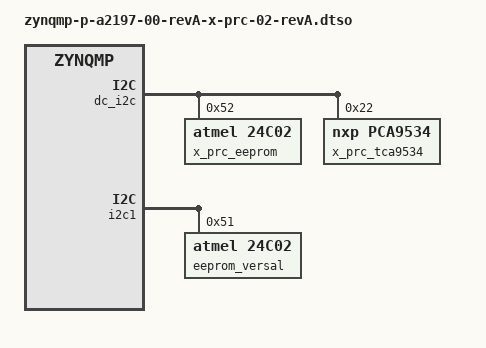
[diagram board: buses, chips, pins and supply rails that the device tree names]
// SPDX-License-Identifier: GPL-2.0
/*
 * dts file for Xilinx ZynqMP System Controller X-PRC-02 revA (SE2)
 *
 * (C) Copyright 2019 - 2022, Xilinx, Inc.
 * (C) Copyright 2022 - 2023, Advanced Micro Devices, Inc.
 *
 * Michal Simek <michal.simek@amd.com>
 */

/dts-v1/;
/plugin/;

/{
	compatible = "xlnx,zynqmp-x-prc-02-revA", "xlnx,zynqmp-x-prc-02";

	fragment@0 {
		target = <&dc_i2c>;

		__overlay__ {
			#address-cells = <1>;
			#size-cells = <0>;

			x_prc_eeprom: eeprom@52 { /* u16 */
				compatible = "atmel,24c02";
				reg = <0x52>;
			};

			x_prc_tca9534: gpio@22 { /* u17 tca9534 */
				compatible = "nxp,pca9534";
				reg = <0x22>;
				gpio-controller; /* IRQ not connected */
				#gpio-cells = <2>;
				gpio-line-names = "sw4_1", "sw4_2", "sw4_3", "sw4_4",
						  "", "", "", "";
				gtr-sel0 {
					gpio-hog;
					gpios = <0 0>;
					input; /* FIXME add meaning */
					line-name = "sw4_1";
				};
				gtr-sel1 {
					gpio-hog;
					gpios = <1 0>;
					input; /* FIXME add meaning */
					line-name = "sw4_2";
				};
				gtr-sel2 {
					gpio-hog;
					gpios = <2 0>;
					input; /* FIXME add meaning */
					line-name = "sw4_3";
				};
				gtr-sel3 {
					gpio-hog;
					gpios = <3 0>;
					input; /* FIXME add meaning */
					line-name = "sw4_4";
				};
			};
		};
	};

	fragment@1 {
		target = <&i2c1>; /* Must be enabled via J242 */
		__overlay__ {
			#address-cells = <1>;
			#size-cells = <0>;

			eeprom_versal: eeprom@51 { /* u12 */
				compatible = "atmel,24c02";
				reg = <0x51>;
			};
		};
	};
};
